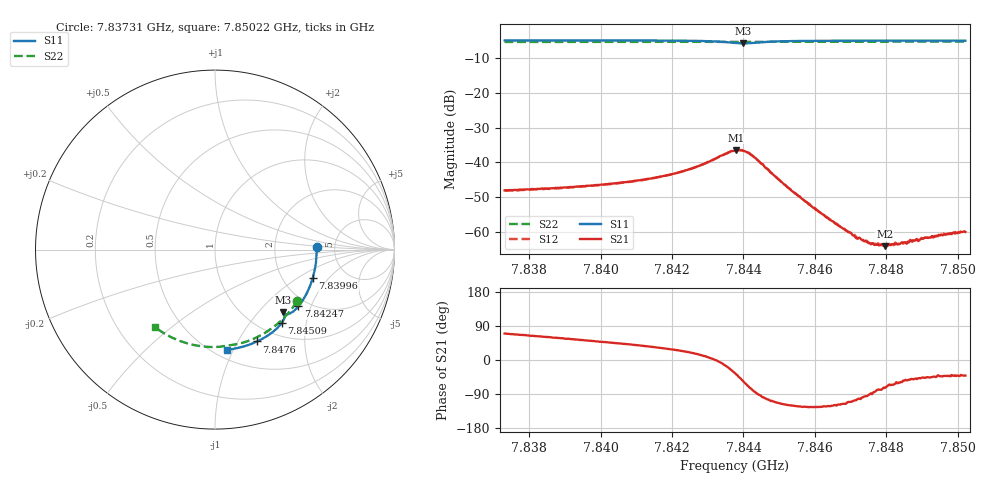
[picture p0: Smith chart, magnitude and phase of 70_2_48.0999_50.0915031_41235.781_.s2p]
#  HZ  S  RI  R  50.00
! Rohde & Schwarz Vector Network Analyzer
! Rohde-Schwarz,ZNB20-2Port,1311601062101988,3.16
! Created: UTC 12/23/2023, 3:41:39 AM
! freq[Hz]  re:S11  im:S11  re:S21  im:S21  re:S12  im:S12  re:S22  im:S22
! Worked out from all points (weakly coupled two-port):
!   401 points, 7.83731 GHz to 7.85022 GHz, reference 50 ohm
!   highest |S21| = -36.40 dB at 7.8438 GHz (marker M1); lowest = -64.0 dB at 7.84796 GHz (marker M2)
!   lowest |S11| = -5.8 dB at 7.84399 GHz (marker M3), VSWR 3.12, Z = 72.2 - j68.7 ohm
!   |S11| at or under -10 dB: nowhere
!   |S22| runs from -5.4 to -5.3 dB; largest |S21 - S12| = 0.00029
!   S11 on the Smith chart (normalised r, x): 7.83731 GHz: 3.61, +0.15; 7.83996 GHz: 2.90, -1.37; 7.84247 GHz: 1.77, -1.64; 7.84509 GHz: 1.25, -1.46; 7.8476 GHz: 0.81, -1.21; 7.85022 GHz: 0.58, -0.94
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7.837311e9  0.5663 0.0145  0.00138 0.00374  0.0014 0.00366  0.456 -0.2888
7.839472e9  0.5522 -0.1286  0.00277 0.00363  0.00272 0.00358  0.3587 -0.4046
7.839956e9  0.5439 -0.16  0.00318 0.00356  0.00313 0.00354  0.3326 -0.4262
7.840763e9  0.5256 -0.2116  0.00396 0.00351  0.00388 0.00348  0.2863 -0.4591
7.841634e9  0.4991 -0.2658  0.00523 0.00335  0.00518 0.00332  0.2329 -0.4887
7.842473e9  0.4649 -0.316  0.00746 0.00276  0.00744 0.00279  0.1783 -0.5112
7.84328e9  0.4158 -0.3562  0.0118 -0.000627  0.0118 -0.000624  0.1237 -0.5262
7.843764e9  0.3814 -0.3569  0.0123 -0.00849  0.0123 -0.00846  0.0912 -0.5314
7.843796e9  0.3802 -0.3555  0.0119 -0.00929  0.0117 -0.00917  0.0892 -0.5317
7.843989e9  0.378 -0.3496  0.00838 -0.0122  0.00847 -0.0122  0.0769 -0.5334
7.844118e9  0.3814 -0.3486  0.00518 -0.0129  0.00526 -0.0129  0.0689 -0.535
7.84428e9  0.3862 -0.3534  0.0018 -0.0121  0.00196 -0.0121  0.0583 -0.5369
7.845086e9  0.3735 -0.4067  -0.00226 -0.00462  -0.00222 -0.00465  0.00214 -0.5428
7.845925e9  0.3317 -0.4509  -0.0013 -0.00191  -0.00131 -0.00193  -0.057 -0.5407
7.846603e9  0.2936 -0.479  -0.00066 -0.00112  -0.000635 -0.00115  -0.1043 -0.5341
7.847216e9  0.2576 -0.5002  -0.000177 -0.000798  -0.000193 -0.000795  -0.1463 -0.5246
7.847603e9  0.2342 -0.5117  -4.44e-06 -0.000694  -1.31e-05 -0.000682  -0.1724 -0.5167
7.847958e9  0.2123 -0.5215  0.000175 -0.000604  0.000177 -0.000602  -0.1959 -0.5085
7.848087e9  0.2042 -0.5247  0.000285 -0.000602  0.000193 -0.000651  -0.2044 -0.5054
7.848539e9  0.1757 -0.5348  0.000433 -0.000562  0.000435 -0.000562  -0.2335 -0.4928
7.84899e9  0.1468 -0.5435  0.000547 -0.000582  0.000574 -0.000596  -0.2616 -0.4786
7.850217e9  0.0667 -0.5586  0.000759 -0.000659  0.000784 -0.000689  -0.3339 -0.4322
